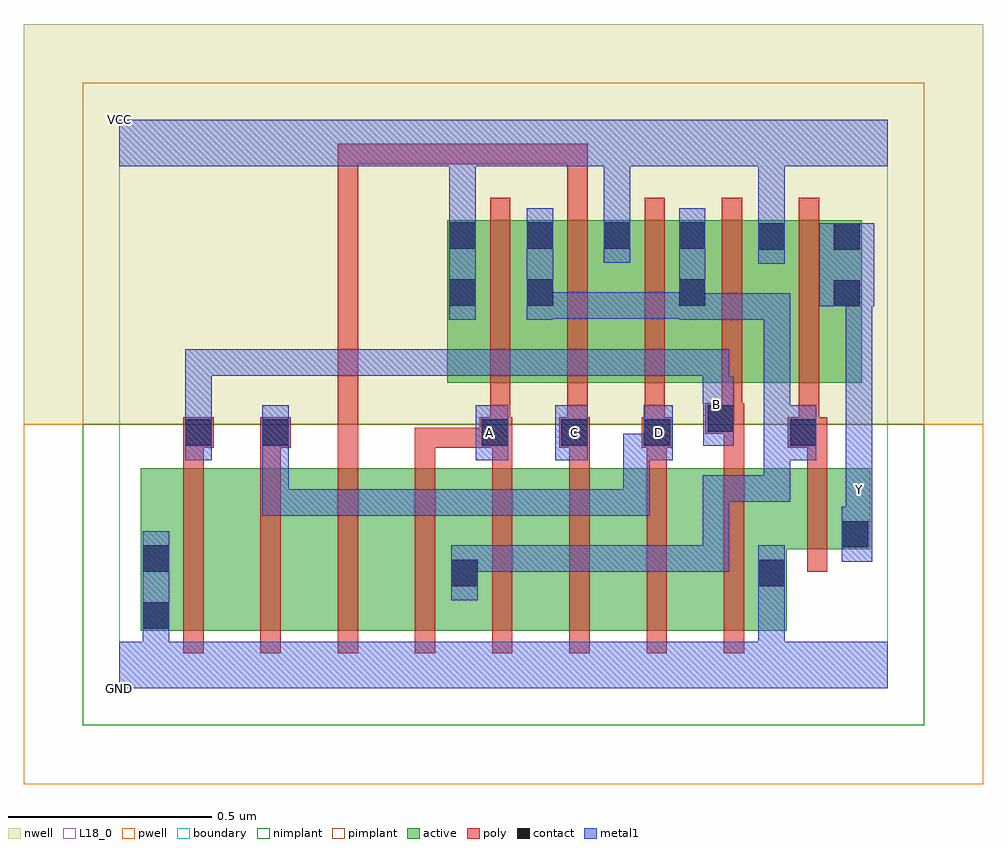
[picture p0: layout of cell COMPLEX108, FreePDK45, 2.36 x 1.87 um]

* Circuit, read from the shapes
.subckt COMPLEX108 A B C D GND VCC Y
M1 n1 B GND VSUBS nfet w=0.4u l=0.05u
M2 n2 D n1 VSUBS nfet w=0.4u l=0.05u
M3 n3 C n2 VSUBS nfet w=0.4u l=0.05u
M4 n4 A n3 VSUBS nfet w=0.4u l=0.05u
M5 n5 A n4 VSUBS nfet w=0.4u l=0.05u
M6 n6 C n5 VSUBS nfet w=0.4u l=0.05u
M7 n7 D n6 VSUBS nfet w=0.4u l=0.05u
M8 GND B n7 VSUBS nfet w=0.4u l=0.05u
M9 Y n4 GND VSUBS nfet w=0.2u l=0.05u
M10 n4 A VCC n8 pfet w=0.4u l=0.05u
M11 VCC C n4 n8 pfet w=0.4u l=0.05u
M12 n4 D VCC n8 pfet w=0.4u l=0.05u
M13 VCC B n4 n8 pfet w=0.4u l=0.05u
M14 Y n4 VCC n8 pfet w=0.4u l=0.05u
.ends

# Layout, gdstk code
import gdstk
lib = gdstk.Library(unit=1e-6, precision=1e-09)
def R(c, l, rs):  # rectangles x0, y0, x1, y1
    for r in rs: c.add(gdstk.rectangle(r[:2], r[2:], *l))
def A(c, l, x, y, w, h, nx, ny, dx, dy):  # array of equal rectangles
    R(c, l, [(x+i*dx, y+j*dy, x+i*dx+w, y+j*dy+h) for i in range(nx) for j in range(ny)])
active = (1, 0)
pwell = (2, 0)
nwell = (3, 0)
nimplant = (4, 0)
pimplant = (5, 0)
poly = (9, 0)
contact = (10, 0)
metal1 = (11, 0)
L18_0 = (18, 0)
boundary = (235, 0)

complex108 = lib.new_cell('COMPLEX108')
R(complex108, active, [(0.052,0.142,0.277,0.542), (0.052,0.142,0.127,0.542), (0.277,0.142,0.467,0.542), (0.467,0.142,0.657,0.542), (0.657,0.142,0.887,0.542), (0.812,0.142,1.037,0.542), (1.037,0.142,1.227,0.542), (1.227,0.142,1.417,0.542), (1.417,0.142,1.642,0.542), (0.812,0.195,0.887,0.492), (1.567,0.247,1.642,0.542), (1.567,0.342,1.847,0.542), (1.772,0.342,1.847,0.542), (0.807,0.752,1.072,1.152), (0.997,0.752,1.262,1.152), (1.187,0.752,1.447,1.152), (1.372,0.752,1.642,1.152), (1.567,0.752,1.827,1.152), (1.752,0.752,1.827,1.152), (0.807,0.782,0.882,1.152), (0.997,0.802,1.072,1.152), (1.372,0.802,1.447,1.152), (1.567,0.855,1.642,1.152), (1.187,0.907,1.262,1.152)])
R(complex108, pwell, [(-0.235,-0.235,2.125,0.65)])
R(complex108, nwell, [(-0.235,0.65,2.125,1.635)])
R(complex108, nimplant, [(-0.09,-0.09,1.98,0.65)])
R(complex108, pimplant, [(-0.09,0.65,1.98,1.49)])
A(complex108, poly, 0.157, 0.087, 0.05, 0.51, 8, 1, 0.19, 0)
A(complex108, poly, 0.727, 0.547, 0.05, 0.095, 4, 1, 0.19, 0)
A(complex108, poly, 0.912, 0.617, 0.05, 0.13, 3, 1, 0.19, 0)
A(complex108, poly, 0.912, 0.697, 0.05, 0.51, 5, 1, 0.19, 0)
R(complex108, poly, [(1.692,0.287,1.742,0.597), (0.157,0.547,0.207,0.642), (0.347,0.547,0.397,0.642), (0.537,0.547,0.587,1.34), (1.487,0.547,1.537,0.677), (1.692,0.547,1.742,0.642), (0.157,0.592,0.232,0.667), (0.347,0.592,0.422,0.667), (0.727,0.592,0.777,0.642), (0.727,0.592,0.937,0.642), (0.887,0.592,0.937,0.642), (0.887,0.592,0.937,0.642), (0.887,0.592,0.967,0.667), (1.082,0.592,1.157,0.667), (1.285,0.592,1.36,0.667), (1.645,0.592,1.742,0.667), (1.672,0.617,1.722,0.747), (1.442,0.627,1.537,0.702), (1.482,0.652,1.532,0.747), (1.102,1.157,1.152,1.34), (0.537,1.29,0.587,1.34), (0.537,1.29,0.587,1.34), (0.537,1.29,0.587,1.34), (0.537,1.29,0.587,1.34), (0.537,1.29,0.587,1.34), (0.537,1.29,0.587,1.34), (0.537,1.29,0.587,1.34), (0.537,1.29,0.72,1.34), (0.67,1.29,0.72,1.34), (0.67,1.29,0.72,1.34), (0.67,1.29,0.72,1.34), (0.67,1.29,0.72,1.34), (0.67,1.29,0.72,1.34), (0.67,1.29,0.72,1.34), (0.67,1.29,0.72,1.34), (0.67,1.29,1,1.34), (0.95,1.29,1,1.34), (0.95,1.29,1,1.34), (0.95,1.29,1,1.34), (0.95,1.29,1.152,1.34), (1.102,1.29,1.152,1.34), (1.102,1.29,1.152,1.34), (1.102,1.29,1.152,1.34)])
A(complex108, contact, 0.812, 1.082, 0.065, 0.065, 3, 1, 0.19, 0)
R(complex108, contact, [(0.057,0.147,0.122,0.212), (0.817,0.252,0.882,0.317), (1.572,0.252,1.637,0.317), (0.057,0.287,0.122,0.352), (1.777,0.347,1.842,0.412), (0.162,0.597,0.227,0.662), (0.352,0.597,0.417,0.662), (0.892,0.597,0.957,0.662), (1.087,0.597,1.152,0.662), (1.29,0.597,1.355,0.662), (1.65,0.597,1.715,0.662), (1.447,0.632,1.512,0.697), (1.757,0.94,1.822,1.005), (0.812,0.942,0.877,1.007), (1.002,0.942,1.067,1.007), (1.377,0.942,1.442,1.007), (1.572,1.08,1.637,1.145), (1.757,1.08,1.822,1.145), (1.377,1.082,1.442,1.147)])
R(complex108, metal1, [(0,0,1.89,0.115), (0.057,0.05,0.122,0.177), (1.572,0.05,1.637,0.282), (0.057,0.112,0.122,0.387), (0.817,0.217,0.882,0.352), (1.572,0.217,1.637,0.352), (0.817,0.287,0.882,0.352), (0.817,0.287,0.882,0.352), (0.817,0.287,1.02,0.352), (0.955,0.287,1.02,0.352), (0.955,0.287,1.02,0.352), (0.955,0.287,1.02,0.352), (0.955,0.287,1.305,0.352), (1.24,0.287,1.305,0.352), (1.24,0.287,1.305,0.352), (1.24,0.287,1.305,0.352), (1.24,0.287,1.5,0.352), (1.435,0.287,1.5,0.352), (1.435,0.287,1.5,0.525), (1.777,0.312,1.852,0.447), (1.787,0.382,1.852,0.487), (1.787,0.422,1.852,0.557), (0.352,0.425,0.417,0.49), (0.352,0.425,0.417,0.627), (0.352,0.425,0.607,0.49), (0.542,0.425,0.607,0.49), (0.542,0.425,0.607,0.49), (0.542,0.425,0.607,0.49), (0.542,0.425,0.745,0.49), (0.68,0.425,0.745,0.49), (0.68,0.425,0.745,0.49), (0.68,0.425,0.745,0.49), (0.68,0.425,0.882,0.49), (0.817,0.425,0.882,0.49), (0.817,0.425,1.12,0.49), (1.055,0.425,1.12,0.49), (1.055,0.425,1.12,0.49), (1.055,0.425,1.12,0.49), (1.055,0.425,1.305,0.49), (1.24,0.425,1.305,0.49), (1.24,0.425,1.305,0.627), (1.435,0.46,1.5,0.525), (1.435,0.46,1.5,0.525), (1.435,0.46,1.5,0.525), (1.435,0.46,1.65,0.525), (1.585,0.46,1.65,0.525), (1.585,0.46,1.65,0.627), (1.787,0.492,1.852,1.005), (0.162,0.562,0.227,0.697), (0.352,0.562,0.417,0.697), (0.352,0.562,0.417,0.627), (0.352,0.562,0.417,0.627), (0.877,0.562,0.957,0.697), (1.072,0.562,1.152,0.697), (1.24,0.562,1.305,0.627), (1.24,0.562,1.355,0.627), (1.29,0.562,1.362,0.697), (1.585,0.562,1.715,0.627), (1.585,0.562,1.65,0.627), (1.585,0.562,1.65,0.972), (1.65,0.562,1.715,0.697), (1.437,0.597,1.512,0.767), (0.162,0.632,0.227,0.697), (0.162,0.632,0.227,0.697), (0.162,0.632,0.227,0.835), (1.435,0.702,1.5,0.767), (1.435,0.702,1.502,0.767), (1.435,0.702,1.5,0.835), (0.162,0.77,0.227,0.835), (0.162,0.77,0.365,0.835), (0.3,0.77,0.365,0.835), (0.3,0.77,0.365,0.835), (0.3,0.77,0.365,0.835), (0.3,0.77,0.607,0.835), (0.542,0.77,0.607,0.835), (0.542,0.77,0.607,0.835), (0.542,0.77,0.607,0.835), (0.542,0.77,0.745,0.835), (0.68,0.77,0.745,0.835), (0.68,0.77,0.745,0.835), (0.68,0.77,0.745,0.835), (0.68,0.77,0.882,0.835), (0.817,0.77,0.882,0.835), (0.817,0.77,1.12,0.835), (1.055,0.77,1.12,0.835), (1.055,0.77,1.12,0.835), (1.055,0.77,1.12,0.835), (1.055,0.77,1.305,0.835), (1.24,0.77,1.305,0.835), (1.24,0.77,1.305,0.835), (1.24,0.77,1.305,0.835), (1.24,0.77,1.5,0.835), (1.435,0.77,1.5,0.835), (0.812,0.907,0.877,1.182), (1.002,0.907,1.067,1.182), (1.377,0.907,1.5,0.972), (1.377,0.907,1.442,1.182), (1.435,0.907,1.5,0.972), (1.435,0.907,1.65,0.972), (1.585,0.907,1.65,0.972), (1.585,0.907,1.65,0.972), (1.585,0.907,1.65,0.972), (1.002,0.91,1.067,0.975), (1.002,0.91,1.067,0.975), (1.002,0.91,1.302,0.975), (1.237,0.91,1.302,0.975), (1.237,0.91,1.302,0.975), (1.237,0.91,1.302,0.975), (1.237,0.91,1.442,0.975), (1.722,0.94,1.857,1.145), (1.572,1.045,1.637,1.18), (1.192,1.047,1.257,1.182), (1.572,1.115,1.637,1.18), (1.572,1.115,1.637,1.18), (1.572,1.115,1.637,1.35), (0.812,1.117,0.877,1.35), (1.192,1.117,1.257,1.182), (1.192,1.117,1.257,1.182), (1.192,1.117,1.257,1.35), (0,1.285,1.89,1.4), (0.812,1.285,0.877,1.35), (0.812,1.285,0.877,1.35)])
A(complex108, L18_0, 0.877, 0.597, 0.065, 0.065, 3, 1, 0.21, 0)
R(complex108, L18_0, [(0,0,1.89,0.115), (0.057,0.05,0.122,0.177), (1.572,0.05,1.637,0.282), (0.057,0.112,0.122,0.387), (1.572,0.217,1.637,0.352), (1.777,0.312,1.852,0.447), (1.787,0.382,1.852,0.487), (1.787,0.422,1.852,0.557), (0.352,0.425,0.417,0.49), (0.352,0.425,0.417,0.627), (0.352,0.425,0.607,0.49), (0.542,0.425,0.607,0.49), (0.542,0.425,0.607,0.49), (0.542,0.425,0.607,0.49), (0.542,0.425,0.745,0.49), (0.68,0.425,0.745,0.49), (0.68,0.425,0.745,0.49), (0.68,0.425,0.745,0.49), (0.68,0.425,0.882,0.49), (0.817,0.425,0.882,0.49), (0.817,0.425,1.12,0.49), (1.055,0.425,1.12,0.49), (1.055,0.425,1.12,0.49), (1.055,0.425,1.12,0.49), (1.055,0.425,1.305,0.49), (1.24,0.425,1.305,0.49), (1.24,0.425,1.305,0.627), (1.787,0.457,1.852,0.522), (1.787,0.492,1.852,1.005), (0.162,0.562,0.227,0.697), (0.352,0.562,0.417,0.697), (0.352,0.562,0.417,0.627), (0.352,0.562,0.417,0.627), (0.877,0.562,0.957,0.697), (1.072,0.562,1.152,0.697), (1.24,0.562,1.305,0.627), (1.24,0.562,1.355,0.627), (1.29,0.562,1.362,0.697), (1.437,0.597,1.512,0.767), (0.162,0.632,0.227,0.697), (0.162,0.632,0.227,0.697), (0.162,0.632,0.227,0.835), (1.437,0.667,1.502,0.732), (1.435,0.702,1.5,0.767), (1.435,0.702,1.5,0.835), (1.435,0.702,1.502,0.767), (0.162,0.77,0.227,0.835), (0.162,0.77,0.365,0.835), (0.3,0.77,0.365,0.835), (0.3,0.77,0.365,0.835), (0.3,0.77,0.365,0.835), (0.3,0.77,0.607,0.835), (0.542,0.77,0.607,0.835), (0.542,0.77,0.607,0.835), (0.542,0.77,0.607,0.835), (0.542,0.77,0.745,0.835), (0.68,0.77,0.745,0.835), (0.68,0.77,0.745,0.835), (0.68,0.77,0.745,0.835), (0.68,0.77,0.882,0.835), (0.817,0.77,0.882,0.835), (0.817,0.77,1.12,0.835), (1.055,0.77,1.12,0.835), (1.055,0.77,1.12,0.835), (1.055,0.77,1.12,0.835), (1.055,0.77,1.305,0.835), (1.24,0.77,1.305,0.835), (1.24,0.77,1.305,0.835), (1.24,0.77,1.305,0.835), (1.24,0.77,1.5,0.835), (1.435,0.77,1.5,0.835), (0.812,0.907,0.877,1.182), (1.722,0.94,1.857,1.145), (1.572,1.045,1.637,1.18), (1.192,1.047,1.257,1.182), (1.572,1.115,1.637,1.18), (1.572,1.115,1.637,1.18), (1.572,1.115,1.637,1.35), (0.812,1.117,0.877,1.35), (1.192,1.117,1.257,1.182), (1.192,1.117,1.257,1.182), (1.192,1.117,1.257,1.35), (0,1.285,1.89,1.4), (0.812,1.285,0.877,1.35), (0.812,1.285,0.877,1.35)])
R(complex108, boundary, [(0,0,1.89,1.4)])
complex108.add(gdstk.Label('A', (0.91,0.63), layer=11, texttype=0))
complex108.add(gdstk.Label('B', (1.47,0.7), layer=11, texttype=0))
complex108.add(gdstk.Label('C', (1.12,0.63), layer=11, texttype=0))
complex108.add(gdstk.Label('D', (1.33,0.63), layer=11, texttype=0))
complex108.add(gdstk.Label('Y', (1.82,0.49), layer=11, texttype=0))
complex108.add(gdstk.Label('VCC', (0,1.4), layer=11, texttype=0))
complex108.add(gdstk.Label('GND', (0,0), layer=11, texttype=0))

lib.write_gds('COMPLEX108.gds')
